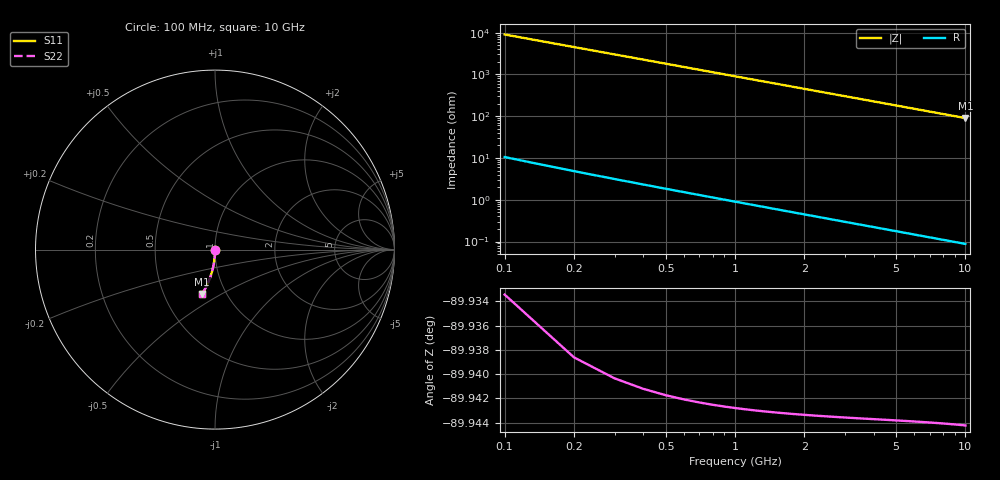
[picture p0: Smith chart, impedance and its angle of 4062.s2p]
# Hz S RI R 50.00
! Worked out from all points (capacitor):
!   100 points, 100 MHz to 10 GHz, reference 50 ohm
!   read as one part in shunt: C = 176 fF near 100 MHz
!   lowest |Z| = 90.1 ohm at 10 GHz (marker M1)
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1e8  3.35e-05 -0.00266  0.9999 -0.00287  0.9999 -0.00287  3.35e-05 -0.00266
2e8  8.16e-06 -0.00531  0.9999 -0.00575  0.9999 -0.00575  8.16e-06 -0.00531
3e8  -3.25e-05 -0.00797  0.9999 -0.00862  0.9999 -0.00862  -3.25e-05 -0.00797
4e8  -8.85e-05 -0.0106  0.9998 -0.0115  0.9998 -0.0115  -8.85e-05 -0.0106
5e8  -0.00016 -0.0133  0.9997 -0.0144  0.9997 -0.0144  -0.00016 -0.0133
6e8  -0.000246 -0.0159  0.9997 -0.0172  0.9997 -0.0172  -0.000246 -0.0159
7e8  -0.000348 -0.0186  0.9996 -0.0201  0.9996 -0.0201  -0.000348 -0.0186
8e8  -0.000465 -0.0212  0.9994 -0.023  0.9994 -0.023  -0.000465 -0.0212
9e8  -0.000598 -0.0239  0.9993 -0.0259  0.9993 -0.0259  -0.000598 -0.0239
1.1e9  -0.000908 -0.0292  0.999 -0.0316  0.999 -0.0316  -0.000908 -0.0292
1.4e9  -0.00149 -0.0371  0.9984 -0.0402  0.9984 -0.0402  -0.00149 -0.0371
1.8e9  -0.00247 -0.0477  0.9974 -0.0516  0.9974 -0.0516  -0.00247 -0.0477
2.1e9  -0.00337 -0.0556  0.9965 -0.0602  0.9965 -0.0602  -0.00337 -0.0556
2.5e9  -0.00478 -0.0661  0.9951 -0.0716  0.9951 -0.0716  -0.00478 -0.0661
2.9e9  -0.00643 -0.0766  0.9935 -0.0829  0.9935 -0.0829  -0.00643 -0.0766
3.4e9  -0.00882 -0.0896  0.9911 -0.097  0.9911 -0.097  -0.00882 -0.0896
4.2e9  -0.0134 -0.1102  0.9865 -0.1194  0.9865 -0.1194  -0.0134 -0.1102
5.1e9  -0.0197 -0.133  0.9802 -0.1442  0.9802 -0.1442  -0.0197 -0.133
5.9e9  -0.0262 -0.1529  0.9737 -0.1658  0.9737 -0.1658  -0.0262 -0.1529
6.7e9  -0.0335 -0.1724  0.9663 -0.1871  0.9663 -0.1871  -0.0335 -0.1724
8.4e9  -0.0518 -0.2122  0.9479 -0.2306  0.9479 -0.2306  -0.0518 -0.2122
1e10  -0.072 -0.2472  0.9277 -0.2693  0.9277 -0.2693  -0.072 -0.2472
